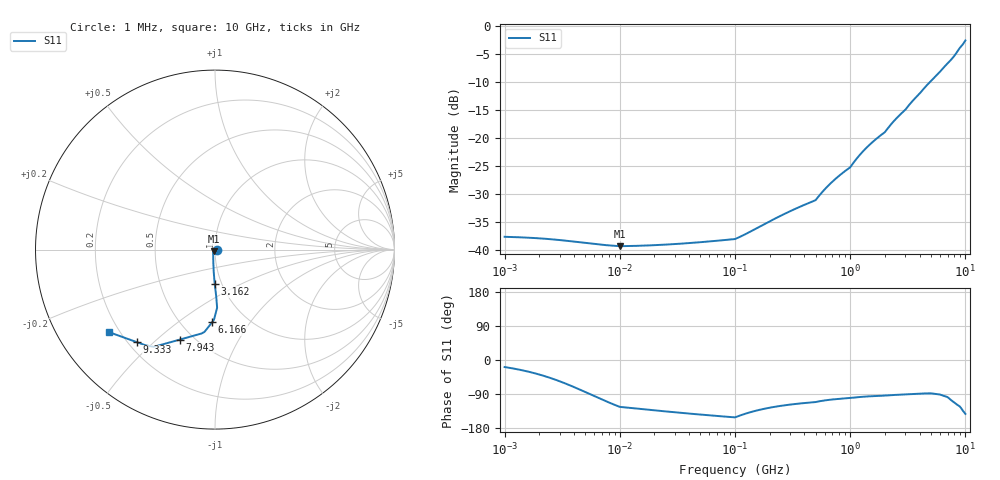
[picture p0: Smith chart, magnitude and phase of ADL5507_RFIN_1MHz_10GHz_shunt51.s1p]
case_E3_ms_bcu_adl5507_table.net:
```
# E (table): ADL5507 on ms, bcu
Pac:P1 n1 gnd Num="1" Z="50 Ohm" P="0 dBm" f="1e9"
SUBST:Sub1 er="4.5" h="1.44 mm" t="35 um" tand="0.02" rho="1.72e-8" D="0"
MLIN:PAD n1 a Subst="Sub1" W="0.8 mm" L="1.1 mm" Model="Hammerstad" DispModel="Kirschning" Temp="26.85"
MSTEP:S0 a a2 Subst="Sub1" W1="0.8 mm" W2="0.2032 mm" MSModel="Hammerstad" MSDispModel="Kirschning"
MLIN:L1 a2 r1a Subst="Sub1" W="0.2032 mm" L="0.65 mm" Model="Hammerstad" DispModel="Kirschning" Temp="26.85"
MSTEP:S1 r1a r1 Subst="Sub1" W1="0.2032 mm" W2="0.3 mm" MSModel="Hammerstad" MSDispModel="Kirschning"
MLIN:L2 r1 r2a Subst="Sub1" W="0.3 mm" L="1 mm" Model="Hammerstad" DispModel="Kirschning" Temp="26.85"
MSTEP:S2 r2a r2 Subst="Sub1" W1="0.3 mm" W2="0.2032 mm" MSModel="Hammerstad" MSDispModel="Kirschning"
MLIN:L3 r2 l3b Subst="Sub1" W="0.2032 mm" L="1.1 mm" Model="Hammerstad" DispModel="Kirschning" Temp="26.85"
MSTEP:S3 l3b l4a Subst="Sub1" W1="0.2032 mm" W2="0.1524 mm" MSModel="Hammerstad" MSDispModel="Kirschning"
MLIN:L4 l4a inhi Subst="Sub1" W="0.1524 mm" L="1.68 mm" Model="Hammerstad" DispModel="Kirschning" Temp="26.85"
SPfile:CHIP inhi gnd File="ADL5507_RFIN_1MHz_10GHz_shunt51.s1p" Data="rectangular" Interpolator="linear" duringDC="open"
.SP:SP1 Type="log" Start="1e6" Stop="1e10" Points="401"
```
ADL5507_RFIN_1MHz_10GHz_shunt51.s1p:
! ADL5507 RFIN input reflection, variant 'shunt51', 1 MHz - 10 GHz (see adl5507_input_model.py)
! Data: ADL5507 Rev. 0 datasheet, Table 4, 10 MHz - 15 GHz; below 10 MHz extrapolated (series 25 pF coupling capacitor).
! 1-port: RFIN to ground (COMM). Reference impedance 50 ohm.
# HZ S RI R 50
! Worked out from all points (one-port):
!   401 points, 1 MHz to 10 GHz, reference 50 ohm
!   lowest |S11| = -39.3 dB at 10 MHz (marker M1), VSWR 1.02, Z = 49.4 - j0.889 ohm
!   |S11| at or under -10 dB: start of sweep to 4.895 GHz
!   S11 on the Smith chart (normalised r, x): 1 MHz: 1.03, -0.01; 3.162 GHz: 0.93, -0.37; 6.166 GHz: 0.70, -0.68; 7.943 GHz: 0.42, -0.60; 9.333 GHz: 0.23, -0.44; 10 GHz: 0.16, -0.33
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1000000  0.0124 -0.00418
1e7  -0.006 -0.009
2.187762e7  -0.0077 -0.00798
1e8  -0.011 -0.006
4.677351e8  -0.01 -0.0252
1.905461e9  -0.00814 -0.1089
3.162278e9  -0.00135 -0.192
4.897788e9  0.0114 -0.3162
6.16595e9  -0.0161 -0.4047
7.079458e9  -0.0749 -0.4674
7.943282e9  -0.1965 -0.5019
8.709636e9  -0.3122 -0.5336
9.332543e9  -0.4363 -0.5154
1e10  -0.593 -0.459
